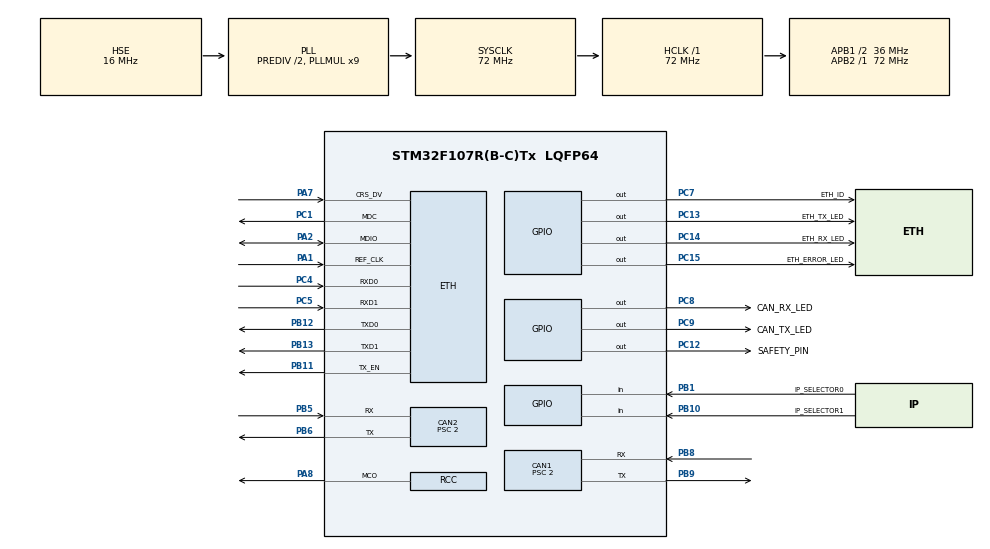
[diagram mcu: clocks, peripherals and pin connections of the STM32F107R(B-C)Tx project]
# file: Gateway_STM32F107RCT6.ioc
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CAN1.ABOM=ENABLE
CAN1.BS1=CAN_BS1_13TQ
CAN1.BS2=CAN_BS2_4TQ
CAN1.CalculateBaudRate=1000000
CAN1.CalculateTimeBit=1000
CAN1.CalculateTimeQuantum=55.55555555555556
CAN1.Prescaler=2
CAN2.ABOM=ENABLE
CAN2.BS1=CAN_BS1_13TQ
CAN2.BS2=CAN_BS2_4TQ
CAN2.CalculateBaudRate=1000000
CAN2.CalculateTimeBit=1000
CAN2.CalculateTimeQuantum=55.55555555555556
CAN2.Prescaler=2
ETH.AutoNegotiation=ETH_AUTONEGOTIATION_DISABLE
ETH.MediaInterface=ETH_MEDIA_INTERFACE_RMII
LWIP.IP_ADDRESS=172.022.004.011
LWIP.LWIP_DHCP=0
LWIP.LWIP_TCP=0
LWIP.MEMP_NUM_UDP_PCB=16
LWIP.MEM_SIZE=0x2000
LWIP.NETMASK_ADDRESS=255.255.240.000
LWIP.Version=v2.0.3_Cube
Mcu.Family=STM32F1
Mcu.Name=STM32F107R(B-C)Tx
Mcu.Package=LQFP64
NVIC.CAN1_RX0_IRQn=true\:0\:0\:false\:false\:true\:true\:true\:true
NVIC.CAN1_RX1_IRQn=true\:0\:0\:false\:false\:true\:true\:true\:true
NVIC.CAN2_RX0_IRQn=true\:0\:0\:false\:false\:true\:true\:true\:true
NVIC.CAN2_RX1_IRQn=true\:0\:0\:false\:false\:true\:true\:true\:true
NVIC.PriorityGroup=NVIC_PRIORITYGROUP_4
NVIC.TIM6_IRQn=true\:15\:0\:false\:false\:true\:false\:true\:true
NVIC.TIM7_IRQn=true\:0\:0\:false\:false\:true\:true\:true\:true
NVIC.TimeBase=TIM6_IRQn
NVIC.TimeBaseIP=TIM6
PA1.GPIO_PuPd=GPIO_NOPULL
PA1.Mode=RMII
PA1.Signal=ETH_REF_CLK
PA13.Mode=Trace_Asynchronous_SW
PA13.Signal=SYS_JTMS-SWDIO
PA14.Mode=Trace_Asynchronous_SW
PA14.Signal=SYS_JTCK-SWCLK
PA2.Mode=RMII
PA2.Signal=ETH_MDIO
PA7.Mode=RMII
PA7.Signal=ETH_CRS_DV
PA8.GPIO_Speed=GPIO_SPEED_FREQ_HIGH
PA8.Mode=Clock-out
PA8.Signal=RCC_MCO
PB1.GPIO_Label=IP_SELECTOR0
PB1.Signal=GPIO_Input
PB10.GPIO_Label=IP_SELECTOR1
PB10.Signal=GPIO_Input
PB11.Mode=RMII
PB11.Signal=ETH_TX_EN
PB12.Mode=RMII
PB12.Signal=ETH_TXD0
PB13.Mode=RMII
PB13.Signal=ETH_TXD1
PB3.Mode=Trace_Asynchronous_SW
PB3.Signal=SYS_TRACESWO
PB5.Mode=CAN_Activate
PB5.Signal=CAN2_RX
PB6.Mode=CAN_Activate
PB6.Signal=CAN2_TX
PB8.Mode=CAN_Activate
PB8.Signal=CAN1_RX
PB9.Mode=CAN_Activate
PB9.Signal=CAN1_TX
PC1.Mode=RMII
PC1.Signal=ETH_MDC
PC12.GPIO_Label=SAFETY_PIN
PC12.Signal=GPIO_Output
PC13-TAMPER-RTC.GPIO_Label=ETH_TX_LED
PC13-TAMPER-RTC.GPIO_ModeDefaultOutputPP=GPIO_MODE_OUTPUT_PP
PC13-TAMPER-RTC.GPIO_PuPd=GPIO_NOPULL
PC13-TAMPER-RTC.Signal=GPIO_Output
PC14-OSC32_IN.GPIO_Label=ETH_RX_LED
PC14-OSC32_IN.GPIO_ModeDefaultOutputPP=GPIO_MODE_OUTPUT_PP
PC14-OSC32_IN.GPIO_PuPd=GPIO_NOPULL
PC14-OSC32_IN.Signal=GPIO_Output
PC15-OSC32_OUT.GPIO_Label=ETH_ERROR_LED
PC15-OSC32_OUT.GPIO_ModeDefaultOutputPP=GPIO_MODE_OUTPUT_PP
PC15-OSC32_OUT.GPIO_PuPd=GPIO_NOPULL
PC15-OSC32_OUT.Signal=GPIO_Output
PC4.Mode=RMII
PC4.Signal=ETH_RXD0
PC5.Mode=RMII
PC5.Signal=ETH_RXD1
PC7.GPIO_Label=ETH_ID
PC7.GPIO_ModeDefaultOutputPP=GPIO_MODE_OUTPUT_PP
PC7.GPIO_PuPd=GPIO_NOPULL
PC7.Signal=GPIO_Output
PC8.GPIO_Label=CAN_RX_LED
PC8.GPIO_ModeDefaultOutputPP=GPIO_MODE_OUTPUT_PP
PC8.GPIO_PuPd=GPIO_NOPULL
PC8.Signal=GPIO_Output
PC9.GPIO_Label=CAN_TX_LED
PC9.GPIO_ModeDefaultOutputPP=GPIO_MODE_OUTPUT_PP
PC9.GPIO_PuPd=GPIO_NOPULL
PC9.Signal=GPIO_Output
PD0-OSC_IN.Mode=HSE-External-Oscillator
PD0-OSC_IN.Signal=RCC_OSC_IN
PD1-OSC_OUT.Mode=HSE-External-Oscillator
PD1-OSC_OUT.Signal=RCC_OSC_OUT
ProjectManager.HeapSize=0x200
ProjectManager.StackSize=0x400
ProjectManager.TargetToolchain=STM32CubeIDE
RCC.AHBFreq_Value=72000000
RCC.APB1CLKDivider=RCC_HCLK_DIV2
RCC.APB1Freq_Value=36000000
RCC.APB1TimFreq_Value=72000000
RCC.APB2Freq_Value=72000000
RCC.APB2TimFreq_Value=72000000
RCC.HCLKFreq_Value=72000000
RCC.HSEDivPLL=RCC_HSE_PREDIV_DIV2
RCC.HSE_VALUE=16000000
RCC.PLLMUL=RCC_PLL_MUL9
RCC.PLLSourceVirtual=RCC_PLLSOURCE_HSE
RCC.RCC_MCOSource=RCC_MCO1SOURCE_HSE
RCC.SYSCLKFreq_VALUE=72000000
RCC.SYSCLKSource=RCC_SYSCLKSOURCE_PLLCLK
RCC.USBFreq_Value=48000000
TIM7.Period=1000
TIM7.Prescaler=72-1
VP_LWIP_VS_Enabled.Mode=Enabled
VP_SYS_VS_tim6.Mode=TIM6
VP_TIM7_VS_ClockSourceINT.Mode=Enable_Timer
board=custom

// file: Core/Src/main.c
/* USER CODE BEGIN Header */
/**
  ******************************************************************************
  * @file           : main.c
  * @brief          : Main program body
  ******************************************************************************
  * @attention
  *
  * Copyright (c) 2025 STMicroelectronics.
  * All rights reserved.
  *
  * This software is licensed under terms that can be found in the LICENSE file
  * in the root directory of this software component.
  * If no LICENSE file comes with this software, it is provided AS-IS.
  *
  ******************************************************************************
  */
/* USER CODE END Header */
#include "main.h"
#include "lwip.h"

/* USER CODE BEGIN Includes */
#include "udp.h"
#include "udp_ping.h"
#include "basic_queue.h"
#include "udp_debug.h"
#include "can_to_eth.h"
#include "eth_to_can.h"
#include "robomas_motor.h"

/* USER CODE END Includes */

/* USER CODE BEGIN PM */
CAN_HandleTypeDef hcan1;
CAN_HandleTypeDef hcan2;

TIM_HandleTypeDef htim7;

/* USER CODE END PM */

//CAN_HandleTypeDef hcan1;
//CAN_HandleTypeDef hcan2;
//
//TIM_HandleTypeDef htim7;

void SystemClock_Config(void);
static void MX_GPIO_Init(void);
static void MX_CAN1_Init(void);
static void MX_CAN2_Init(void);
static void MX_TIM7_Init(void);

int main(void)
{

  /* MCU Configuration--------------------------------------------------------*/

  /* Reset of all peripherals, Initializes the Flash interface and the Systick. */
  HAL_Init();

  /* Configure the system clock */
  SystemClock_Config();

  /* USER CODE BEGIN SysInit */
  HAL_Delay(100);

  /* USER CODE END SysInit */

  /* Initialize all configured peripherals */
  MX_GPIO_Init();
  MX_CAN1_Init();
  MX_CAN2_Init();
  MX_TIM7_Init();
  MX_LWIP_Init();
  /* USER CODE BEGIN 2 */
	HAL_CAN_Start(&hcan1);
	HAL_CAN_Start(&hcan2);
	UdpDebug_initializer();
	EthToCan_init(&hcan1);
	CanToEth_init(&hcan1);
	UdpPing_init();
	RobomasMotor_init(&hcan2, &htim7);

  HAL_GPIO_WritePin(CAN_RX_LED_GPIO_Port, CAN_RX_LED_Pin, GPIO_PIN_SET);
  HAL_GPIO_WritePin(CAN_TX_LED_GPIO_Port, CAN_TX_LED_Pin, GPIO_PIN_SET);
  HAL_GPIO_WritePin(ETH_RX_LED_GPIO_Port, ETH_RX_LED_Pin, GPIO_PIN_RESET);
  HAL_GPIO_WritePin(ETH_TX_LED_GPIO_Port, ETH_TX_LED_Pin, GPIO_PIN_RESET);
  /* USER CODE END 2 */

  /* Infinite loop */
  /* USER CODE BEGIN WHILE */
  uint32_t next_led_downtim = HAL_GetTick() + 500;

  while (1)
  {
	    MX_LWIP_Process();

	    EthToCan_Process();
	    CanToEth_Process();
	    UdpPing_Process();
	    RobomasMotor_Process();

	    if(next_led_downtim < HAL_GetTick())
	    {
	      HAL_GPIO_WritePin(CAN_RX_LED_GPIO_Port, CAN_RX_LED_Pin, GPIO_PIN_SET);
	      HAL_GPIO_WritePin(CAN_TX_LED_GPIO_Port, CAN_TX_LED_Pin, GPIO_PIN_SET);
	      HAL_GPIO_WritePin(ETH_RX_LED_GPIO_Port, ETH_RX_LED_Pin, GPIO_PIN_SET);
	      HAL_GPIO_WritePin(ETH_TX_LED_GPIO_Port, ETH_TX_LED_Pin, GPIO_PIN_SET);
	      next_led_downtim = HAL_GetTick() + 500;
	    }
    /* USER CODE END WHILE */

  }
}

void SystemClock_Config(void)
{
  RCC_OscInitTypeDef RCC_OscInitStruct = {0};
  RCC_ClkInitTypeDef RCC_ClkInitStruct = {0};

  /** Initializes the RCC Oscillators according to the specified parameters
  * in the RCC_OscInitTypeDef structure.
  */
  RCC_OscInitStruct.OscillatorType = RCC_OSCILLATORTYPE_HSE;
  RCC_OscInitStruct.HSEState = RCC_HSE_ON;
  RCC_OscInitStruct.HSEPredivValue = RCC_HSE_PREDIV_DIV2;
  RCC_OscInitStruct.HSIState = RCC_HSI_ON;
  RCC_OscInitStruct.Prediv1Source = RCC_PREDIV1_SOURCE_HSE;
  RCC_OscInitStruct.PLL.PLLState = RCC_PLL_ON;
  RCC_OscInitStruct.PLL.PLLSource = RCC_PLLSOURCE_HSE;
  RCC_OscInitStruct.PLL.PLLMUL = RCC_PLL_MUL9;
  RCC_OscInitStruct.PLL2.PLL2State = RCC_PLL_NONE;
  if (HAL_RCC_OscConfig(&RCC_OscInitStruct) != HAL_OK)
  {
    Error_Handler();
  }

  /** Initializes the CPU, AHB and APB buses clocks
  */
  RCC_ClkInitStruct.ClockType = RCC_CLOCKTYPE_HCLK|RCC_CLOCKTYPE_SYSCLK
                              |RCC_CLOCKTYPE_PCLK1|RCC_CLOCKTYPE_PCLK2;
  RCC_ClkInitStruct.SYSCLKSource = RCC_SYSCLKSOURCE_PLLCLK;
  RCC_ClkInitStruct.AHBCLKDivider = RCC_SYSCLK_DIV1;
  RCC_ClkInitStruct.APB1CLKDivider = RCC_HCLK_DIV2;
  RCC_ClkInitStruct.APB2CLKDivider = RCC_HCLK_DIV1;

  if (HAL_RCC_ClockConfig(&RCC_ClkInitStruct, FLASH_LATENCY_2) != HAL_OK)
  {
    Error_Handler();
  }
  HAL_RCC_MCOConfig(RCC_MCO, RCC_MCO1SOURCE_HSE, RCC_MCODIV_1);

  /** Configure the Systick interrupt time
  */
  __HAL_RCC_PLLI2S_ENABLE();
}

static void MX_CAN1_Init(void)
{

  hcan1.Instance = CAN1;
  hcan1.Init.Prescaler = 2;
  hcan1.Init.Mode = CAN_MODE_NORMAL;
  hcan1.Init.SyncJumpWidth = CAN_SJW_1TQ;
  hcan1.Init.TimeSeg1 = CAN_BS1_13TQ;
  hcan1.Init.TimeSeg2 = CAN_BS2_4TQ;
  hcan1.Init.TimeTriggeredMode = DISABLE;
  hcan1.Init.AutoBusOff = ENABLE;
  hcan1.Init.AutoWakeUp = DISABLE;
  hcan1.Init.AutoRetransmission = DISABLE;
  hcan1.Init.ReceiveFifoLocked = DISABLE;
  hcan1.Init.TransmitFifoPriority = DISABLE;
  if (HAL_CAN_Init(&hcan1) != HAL_OK)
  {
    Error_Handler();
  }
  /* USER CODE BEGIN CAN1_Init 2 */
  CAN_FilterTypeDef filter0;
  filter0.FilterIdHigh         = 0;                        // フィルターID(上位16ビット)
  filter0.FilterIdLow          = 0;                        // フィルターID(下位16ビット)
  filter0.FilterMaskIdHigh     = 0;                  // フィルターマスク(上位16ビット)
  filter0.FilterMaskIdLow      = 0;                  // フィルターマスク(下位16ビット)
  filter0.FilterScale          = CAN_FILTERSCALE_32BIT;    // フィルタースケール
  filter0.FilterFIFOAssignment = CAN_FILTER_FIFO0;         // フィルターに割り当てるFIFO
  filter0.FilterBank           = 0;                        // フィルターバンクNo
  filter0.FilterMode           = CAN_FILTERMODE_IDMASK;    // フィルターモード
  filter0.SlaveStartFilterBank = 14;                       // スレーブCANの開始フィルターバンクNo
  filter0.FilterActivation     = ENABLE;                  // フィルター無効／有効
  if (HAL_CAN_ConfigFilter(&hcan1, &filter0) != HAL_OK)
  {
    Error_Handler();
  }
  /* USER CODE END CAN1_Init 2 */

}

static void MX_CAN2_Init(void)
{

  hcan2.Instance = CAN2;
  hcan2.Init.Prescaler = 2;
  hcan2.Init.Mode = CAN_MODE_NORMAL;
  hcan2.Init.SyncJumpWidth = CAN_SJW_1TQ;
  hcan2.Init.TimeSeg1 = CAN_BS1_13TQ;
  hcan2.Init.TimeSeg2 = CAN_BS2_4TQ;
  hcan2.Init.TimeTriggeredMode = DISABLE;
  hcan2.Init.AutoBusOff = ENABLE;
  hcan2.Init.AutoWakeUp = DISABLE;
  hcan2.Init.AutoRetransmission = DISABLE;
  hcan2.Init.ReceiveFifoLocked = DISABLE;
  hcan2.Init.TransmitFifoPriority = DISABLE;
  if (HAL_CAN_Init(&hcan2) != HAL_OK)
  {
    Error_Handler();
  }
  /* USER CODE BEGIN CAN2_Init 2 */
  CAN_FilterTypeDef filter1;
  filter1.FilterIdHigh         = 0;                        // フィルターID(上位16ビット)
  filter1.FilterIdLow          = 0;                        // フィルターID(下位16ビット)
  filter1.FilterMaskIdHigh     = 0;                  // フィルターマスク(上位16ビット)
  filter1.FilterMaskIdLow      = 0;                  // フィルターマスク(下位16ビット)
  filter1.FilterScale          = CAN_FILTERSCALE_32BIT;    // フィルタースケール
  filter1.FilterFIFOAssignment = CAN_FILTER_FIFO0;         // フィルターに割り当てるFIFO
  filter1.FilterBank           = 0;                        // フィルターバンクNo
  filter1.FilterMode           = CAN_FILTERMODE_IDMASK;    // フィルターモード
  filter1.SlaveStartFilterBank = 14;                       // スレーブCANの開始フィルターバンクNo
  filter1.FilterActivation     = ENABLE;                  // フィルター無効／有効
  if (HAL_CAN_ConfigFilter(&hcan2, &filter1) != HAL_OK)
  {
    Error_Handler();
  }
  /* USER CODE END CAN2_Init 2 */

}

static void MX_TIM7_Init(void)
{

  TIM_MasterConfigTypeDef sMasterConfig = {0};

  htim7.Instance = TIM7;
  htim7.Init.Prescaler = 72-1;
  htim7.Init.CounterMode = TIM_COUNTERMODE_UP;
  htim7.Init.Period = 1000;
  htim7.Init.AutoReloadPreload = TIM_AUTORELOAD_PRELOAD_DISABLE;
  if (HAL_TIM_Base_Init(&htim7) != HAL_OK)
  {
    Error_Handler();
  }
  sMasterConfig.MasterOutputTrigger = TIM_TRGO_RESET;
  sMasterConfig.MasterSlaveMode = TIM_MASTERSLAVEMODE_DISABLE;
  if (HAL_TIMEx_MasterConfigSynchronization(&htim7, &sMasterConfig) != HAL_OK)
  {
    Error_Handler();
  }

}

static void MX_GPIO_Init(void)
{
  GPIO_InitTypeDef GPIO_InitStruct = {0};

  /* GPIO Ports Clock Enable */
  __HAL_RCC_GPIOC_CLK_ENABLE();
  __HAL_RCC_GPIOD_CLK_ENABLE();
  __HAL_RCC_GPIOA_CLK_ENABLE();
  __HAL_RCC_GPIOB_CLK_ENABLE();

  /*Configure GPIO pin Output Level */
  HAL_GPIO_WritePin(GPIOC, ETH_TX_LED_Pin|ETH_RX_LED_Pin|ETH_ERROR_LED_Pin|ETH_ID_Pin
                          |CAN_RX_LED_Pin|CAN_TX_LED_Pin|SAFETY_PIN_Pin, GPIO_PIN_RESET);

  /*Configure GPIO pins : ETH_TX_LED_Pin ETH_RX_LED_Pin ETH_ERROR_LED_Pin ETH_ID_Pin
                           CAN_RX_LED_Pin CAN_TX_LED_Pin SAFETY_PIN_Pin */
  GPIO_InitStruct.Pin = ETH_TX_LED_Pin|ETH_RX_LED_Pin|ETH_ERROR_LED_Pin|ETH_ID_Pin
                          |CAN_RX_LED_Pin|CAN_TX_LED_Pin|SAFETY_PIN_Pin;
  GPIO_InitStruct.Mode = GPIO_MODE_OUTPUT_PP;
  GPIO_InitStruct.Pull = GPIO_NOPULL;
  GPIO_InitStruct.Speed = GPIO_SPEED_FREQ_LOW;
  HAL_GPIO_Init(GPIOC, &GPIO_InitStruct);

  /*Configure GPIO pins : IP_SELECTOR0_Pin IP_SELECTOR1_Pin */
  GPIO_InitStruct.Pin = IP_SELECTOR0_Pin|IP_SELECTOR1_Pin;
  GPIO_InitStruct.Mode = GPIO_MODE_INPUT;
  GPIO_InitStruct.Pull = GPIO_NOPULL;
  HAL_GPIO_Init(GPIOB, &GPIO_InitStruct);

  /*Configure GPIO pin : PA8 */
  GPIO_InitStruct.Pin = GPIO_PIN_8;
  GPIO_InitStruct.Mode = GPIO_MODE_AF_PP;
  GPIO_InitStruct.Speed = GPIO_SPEED_FREQ_HIGH;
  HAL_GPIO_Init(GPIOA, &GPIO_InitStruct);

}

void HAL_TIM_PeriodElapsedCallback(TIM_HandleTypeDef *htim)
{
  if (htim->Instance == TIM6) {
    HAL_IncTick();
  }
}

void Error_Handler(void)
{
  __disable_irq();
  while (1)
  {
  }
}
